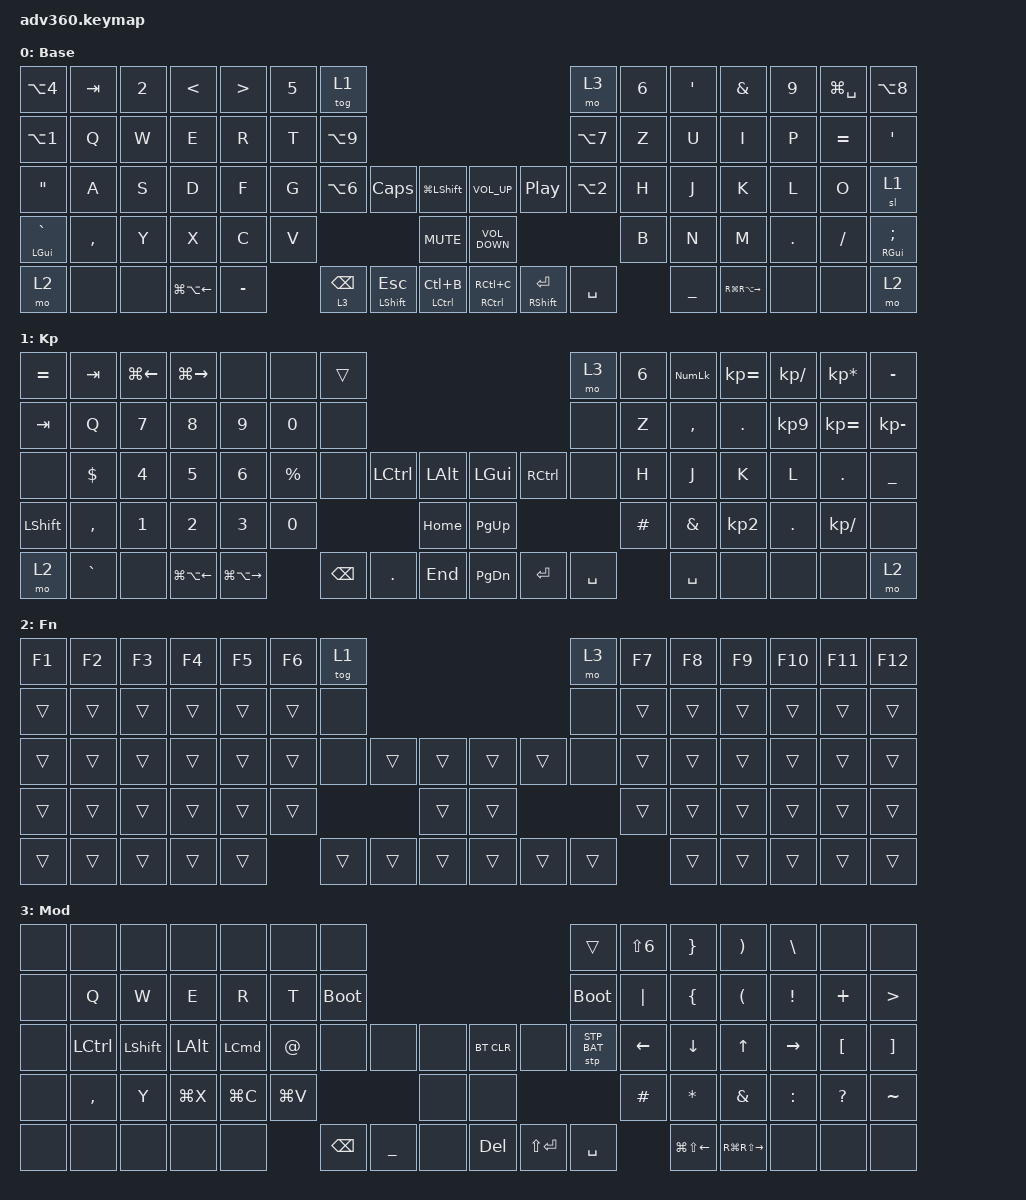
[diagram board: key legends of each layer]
#include <dt-bindings/zmk/stp.h>
#include <behaviors.dtsi>
#include <dt-bindings/zmk/bt.h>
#include <dt-bindings/zmk/keys.h>

/ {
    behaviors {
        #include "macros.dtsi"
      #include "version.dtsi"

        homerowLeft: homerow_mods {
            compatible = "zmk,behavior-hold-tap";
            label = "HOMEROW_MODS";
            #binding-cells = <2>;
            tapping-term-ms = <200>;
            flavor = "hold-preferred";
            bindings = <&kp>, <&kp>;

            hold-trigger-key-positions = <7 8 9 10 11 12 13 21 22 23 24 25 26 27 37 38 39 40 41 42 43 44 45 53 54 55 56 57 58 59 68 69 70 71 72 73 74 75>;
            quick-tap-ms = <300>;
        };

        commaslash: commaslash {
            compatible = "zmk,behavior-tap-dance";
            label = "COMMASLASH";
            #binding-cells = <0>;
            bindings = <&kp COMMA>, <&kp SLASH>;

            tapping-term-ms = <180>;
        };

        ctrlgui: ctrlgui {
            compatible = "zmk,behavior-tap-dance";
            label = "CTRLGUI";
            #binding-cells = <0>;
            bindings = <&kp RIGHT_CONTROL>, <&kp RIGHT_GUI>;
        };

        howerowRight: howerowRight {
            compatible = "zmk,behavior-hold-tap";
            label = "HOWEROWRIGHT";
            #binding-cells = <2>;
            tapping-term-ms = <200>;
            flavor = "hold-preferred";
            bindings = <&kp>, <&kp>;

            quick-tap-ms = <300>;
            hold-trigger-key-positions = <0 1 2 3 4 5 6 14 15 16 17 18 19 20 28 29 30 31 32 33 34 35 36 46 47 48 49 50 51 52 60 61 62 63 64 65 66 67>;
        };

        home_row_shift_left: home_row_shift_left {
            compatible = "zmk,behavior-hold-tap";
            label = "HOME_ROW_SHIFT_LEFT";
            #binding-cells = <2>;
            tapping-term-ms = <200>;
            flavor = "hold-preferred";
            bindings = <&sl>, <&kp>;

            quick-tap-ms = <400>;
            hold-trigger-key-positions = <26 25 24 23 22 40 41 42 43 44 56 55 57 58 8 9 10 11 12 13 27 45 59 75 74 73 72 71 54 53 68 69 70 38 37 0 1 2 3 4 5 14 15 16 17 18 19 20 28 29 30 31 32 33 34 46 47 48 49 50 51 64 63 62 61 60 39 21>;
        };
    };

    combos { compatible = "zmk,combos"; };

    keymap {
        compatible = "zmk,keymap";

        default_layer {
            display-name = "Base";
            bindings = <
&kp LA(NUMBER_4)    &kp TAB    &kp N2  &kp LESS_THAN     &kp GREATER_THAN  &kp N5  &tog 1                                                                                                                               &mo 3             &kp N6  &kp SQT         &kp AMPERSAND      &kp N9   &kp LG(SPACE)  &kp LA(N8)
&kp LA(NUMBER_1)    &kp Q      &kp W   &kp E             &kp R             &kp T   &kp LA(N9)                                                                                                                           &kp LA(N7)        &kp Z   &kp U           &kp I              &kp P    &kp EQUAL      &kp SQT
&kp DOUBLE_QUOTES   &kp A      &kp S   &kp D             &kp F             &kp G   &kp LA(NUMBER_6)                  &kp CAPSLOCK           &kp LG(LEFT_SHIFT)      &kp C_VOL_UP       &kp C_PLAY_PAUSE                 &kp LA(NUMBER_2)  &kp H   &kp J           &kp K              &kp L    &kp O          &sl 1
&mt LEFT_GUI GRAVE  &kp COMMA  &kp Y   &kp X             &kp C             &kp V                                                            &kp C_MUTE              &kp C_VOLUME_DOWN                                                     &kp B   &kp N           &kp M              &kp DOT  &kp SLASH      &mt RIGHT_GUI SEMICOLON
&mo 2               &none      &none   &kp LG(LA(LEFT))  &kp MINUS                 &home_row_shift_left 3 BACKSPACE  &mt LEFT_SHIFT ESCAPE  &mt LCTRL LC(B)         &mt RCTRL RC(C)    &howerowRight RIGHT_SHIFT ENTER  &kp SPACE                 &kp UNDERSCORE  &kp RG(RA(RIGHT))  &none    &none          &mo 2
            >;
        };

        keypad {
            display-name = "Kp";
            bindings = <
&kp EQUAL  &kp TAB     &kp LG(LEFT)  &kp LG(RIGHT)     &none              &none        &trans                                                        &mo 3      &kp N6    &kp KP_NUM     &kp KP_EQUAL  &kp KP_DIVIDE  &kp KP_MULTIPLY  &kp MINUS
&kp TAB    &kp Q       &kp N7        &kp N8            &kp N9             &kp N0       &none                                                         &none      &kp Z     &kp COMMA      &kp PERIOD    &kp KP_N9      &kp KP_EQUAL     &kp KP_MINUS
&none      &kp DOLLAR  &kp NUMBER_4  &kp N5            &kp NUMBER_6       &kp PERCENT  &none          &kp LCTRL  &kp LALT      &kp LGUI   &kp RCTRL  &none      &kp H     &kp J          &kp K         &kp L          &kp PERIOD       &kp UNDERSCORE
&kp LSHFT  &kp COMMA   &kp N1        &kp NUMBER_2      &kp NUMBER_3       &kp N0                                 &kp HOME      &kp PG_UP                        &kp HASH  &kp AMPERSAND  &kp KP_N2     &kp PERIOD     &kp KP_SLASH     &none
&mo 2      &kp GRAVE   &none         &kp LG(LA(LEFT))  &kp LG(LA(RIGHT))               &kp BACKSPACE  &kp DOT    &kp END       &kp PG_DN  &kp ENTER  &kp SPACE            &kp SPACE      &none         &none          &none            &mo 2
            >;
        };

        fn {
            display-name = "Fn";
            bindings = <
&kp F1  &kp F2  &kp F3  &kp F4  &kp F5  &kp F6  &tog 1                                      &mo 3   &kp F7  &kp F8  &kp F9  &kp F10  &kp F11  &kp F12
&trans  &trans  &trans  &trans  &trans  &trans  &none                                       &none   &trans  &trans  &trans  &trans   &trans   &trans
&trans  &trans  &trans  &trans  &trans  &trans  &none   &trans  &trans      &trans  &trans  &none   &trans  &trans  &trans  &trans   &trans   &trans
&trans  &trans  &trans  &trans  &trans  &trans                  &trans      &trans                  &trans  &trans  &trans  &trans   &trans   &trans
&trans  &trans  &trans  &trans  &trans          &trans  &trans  &trans      &trans  &trans  &trans          &trans  &trans  &trans   &trans   &trans
            >;
        };

        mod {
            display-name = "Mod";
            bindings = <
&none  &none      &none           &none         &none             &none        &none                                                                &trans        &kp LS(NUMBER_6)  &kp RIGHT_BRACE   &kp RIGHT_PARENTHESIS  &kp BACKSLASH    &none             &none
&none  &kp Q      &kp W           &kp E         &kp R             &kp T        &bootloader                                                          &bootloader   &kp PIPE          &kp LEFT_BRACE    &kp LEFT_PARENTHESIS   &kp EXCL         &kp PLUS          &kp GREATER_THAN
&none  &kp LCTRL  &kp LEFT_SHIFT  &kp LEFT_ALT  &kp LEFT_COMMAND  &kp AT_SIGN  &none          &none           &none      &bt BT_CLR  &none          &stp STP_BAT  &kp LEFT          &kp DOWN_ARROW    &kp UP_ARROW           &kp RIGHT_ARROW  &kp LEFT_BRACKET  &kp RIGHT_BRACKET
&none  &kp COMMA  &kp Y           &kp LG(X)     &kp LG(C)         &kp LG(V)                                   &none      &none                                    &kp HASH          &kp ASTERISK      &kp AMPERSAND          &kp COLON        &kp QUESTION      &kp TILDE
&none  &none      &none           &none         &none                          &kp BACKSPACE  &kp UNDERSCORE  &none      &kp DELETE  &kp LS(ENTER)  &kp SPACE                       &kp LG(LS(LEFT))  &kp RG(RS(RIGHT))      &none            &none             &none
            >;
        };

        extra1 {
            display-name = "Red";
            status = "reserved";
        };

        extra2 {
            display-name = "Purple";
            status = "reserved";
        };

        extra3 {
            display-name = "Cyan";
            status = "reserved";
        };

        extra4 {
            display-name = "Yellow";
            status = "reserved";
        };
    };
};
